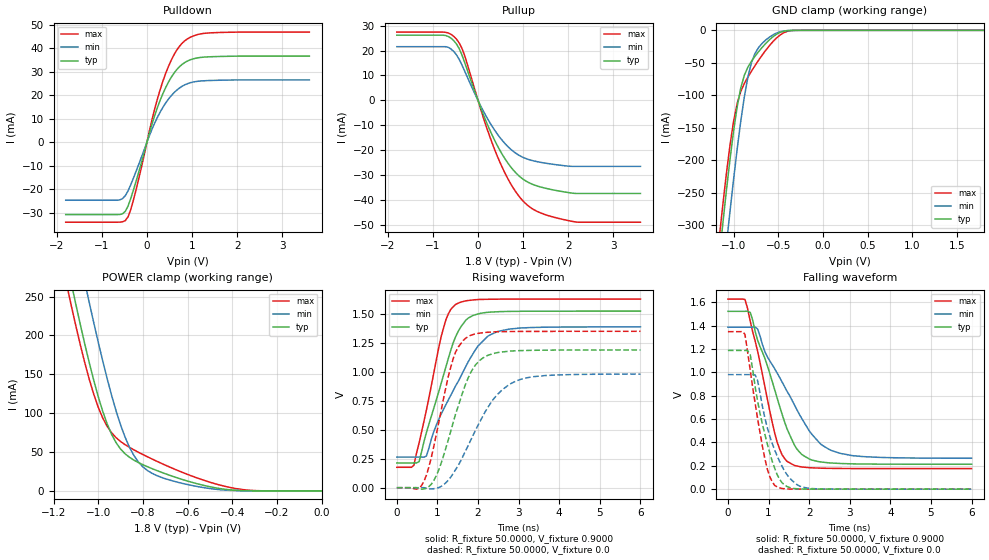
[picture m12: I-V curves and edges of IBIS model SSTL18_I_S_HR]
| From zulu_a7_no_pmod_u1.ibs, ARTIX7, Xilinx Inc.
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[Model]  SSTL18_I_S_HR
Model_type I/O
Polarity   Non-Inverting
Enable   Active-Low
Vinl = 0.775
Vinh = 1.025
Vmeas =  0.9000V
Cref =   0.0F
Rref =   50.0000
Vref =   0.9000V
C_comp   7.6500pF   7.5200pF   7.6700pF
[Model Spec]
Vinl   0.775   0.730   0.820
Vinh   1.025   0.980   1.070
[Temperature Range]   25.0000   85.0000   0.0
[Voltage Range]   1.8000V   1.7100V   1.8900V
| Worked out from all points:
|   slope of the pulldown table from 0 to 0.27 V, typ, clamps not added: 16.2 ohm
|   slope of the pullup table from 0 to 0.27 V, typ, clamps not added: 22.2 ohm
|   GND clamp passes 1 mA (typ) near -0.42 V on its own axis
|   POWER clamp passes 1 mA (typ) near -0.39 V on its own axis
|   rising waveform, R_fixture 50.0000, V_fixture 0.9000: 20-80 % time 672ps typ, 972ps min, 518ps max; typ from 0.213 V to 1.52 V
|   rising waveform, R_fixture 50.0000, V_fixture 0.0: 20-80 % time 646ps typ, 908ps min, 506ps max; typ from 0 V to 1.19 V
|   falling waveform, R_fixture 50.0000, V_fixture 0.9000: 20-80 % time 761ps typ, 1.09ns min, 546ps max; typ from 1.52 V to 0.214 V
|   falling waveform, R_fixture 50.0000, V_fixture 0.0: 20-80 % time 452ps typ, 522ps min, 380ps max; typ from 1.19 V to 0 V
[Pulldown]
|Voltage   I(typ)   I(min)   I(max)
-1.8V     -30.79mA   -24.69mA   -34.04mA
-600mV    -30.76mA   -24.54mA   -34.01mA
-480mV    -29.44mA   -22.78mA   -33.36mA
-420mV    -27.23mA   -20.75mA   -31.83mA
-240mV    -16.58mA   -12.34mA   -20.17mA
120mV     8.208mA    5.91mA     10.22mA
300mV     18.22mA    13.09mA    22.83mA
540mV     27.7mA     19.87mA    35.02mA
660mV     30.92mA    22.18mA    39.23mA
840mV     33.99mA    24.48mA    43.24mA
1.32V     36.34mA    26.25mA    46.49mA
3.6V      36.7mA     26.55mA    46.93mA
[Pullup]
|Voltage   I(typ)   I(min)   I(max)
-1.8V     26.14mA    21.53mA    27.38mA
-720mV    26.02mA    21.53mA    27.3mA
-480mV    22.68mA    18.33mA    24.6mA
-360mV    18.38mA    14.34mA    21.01mA
-300mV    15.4mA     11.91mA    18.16mA
120mV     -5.746mA   -4.326mA   -7.006mA
420mV     -17.82mA   -13.27mA   -22mA
780mV     -27.85mA   -20.39mA   -35.06mA
1.14V     -33.06mA   -23.77mA   -42.61mA
1.5V      -35.2mA    -25.15mA   -45.81mA
2.16V     -37.27mA   -26.43mA   -48.69mA
3.6V      -37.27mA   -26.43mA   -48.78mA
[GND_clamp]
|Voltage   I(typ)   I(min)   I(max)
-1.8V     -1.3A      -1.383A    -1.269A
-1.16V    -348.9mA   -435.6mA   -318.5mA
-1.12V    -296.3mA   -381.5mA   -267.4mA
-1.08V    -245.7mA   -328.8mA   -219.5mA
-1.04V    -198.1mA   -278mA     -176.3mA
-960mV    -117.6mA   -182.5mA   -112.3mA
-920mV    -88.68mA   -139.8mA   -94.04mA
-840mV    -56.6mA    -71.86mA   -71.82mA
-760mV    -39.79mA   -35.41mA   -54.21mA
-560mV    -9.966mA   -7.013mA   -17.38mA
-320mV    -48.25uA   -58.21uA   -167.2uA
1.8V      18.21nA    526.7nA    -33.92nA
[POWER_clamp]
|Voltage   I(typ)   I(min)   I(max)
-1.8V     1.291A     1.371A     1.26A
-1.14V    293.9mA    379.2mA    264mA
-1.1V     239.9mA    323.1mA    212.2mA
-1.06V    188.9mA    268.7mA    164.9mA
-1.04V    165mA      242.3mA    143.6mA
-980mV    102.7mA    167.5mA    94.04mA
-940mV    72.79mA    123mA      74.84mA
-860mV    43.26mA    56.15mA    56.08mA
-800mV    33.74mA    30.98mA    46.86mA
-660mV    18.15mA    12.38mA    28.25mA
-400mV    1.141mA    578.2uA    3.907mA
0V        0A         0A         0A
[Ramp]
| variable   typ   min   max
dV/dt_r  0.7128/0.6348n   0.5880/0.9079n   0.8094/0.5053n
dV/dt_f  0.7843/0.7567n   0.6478/1.0832n   0.8833/0.5647n
R_load = 50.0000
[Rising Waveform]
R_fixture= 50.0000
V_fixture= 0.9000
V_fixture_min= 0.8550
V_fixture_max= 0.9450
|time   V(typ)   V(min)   V(max)
0s        213.4mV    264.2mV    176mV
420ps     213.4mV    264.2mV    193.4mV
550ps     224.8mV    264.2mV    387.4mV
730ps     476mV      273.8mV    671.8mV
1.09ns    897.6mV    632.9mV    1.3V
1.27ns    1.117V     757.6mV    1.5V
1.45ns    1.304V     879.6mV    1.581V
1.76ns    1.463V     1.087V     1.615V
2.48ns    1.518V     1.347V     1.626V
6ns       1.523V     1.387V     1.627V
[Rising Waveform]
R_fixture= 50.0000
V_fixture= 0.0
|time   V(typ)   V(min)   V(max)
0s        0V         505.1nV    616.6nV
480ps     280.7uV    7.418uV    -12.74mV
670ps     -10.92mV   235.7uV    56.23mV
970ps     102mV      -4.418mV   455.3mV
1.39ns    564mV      123.4mV    1.115V
1.7ns     898.7mV    322.2mV    1.291V
2.12ns    1.119V     617.6mV    1.337V
2.48ns    1.165V     804.7mV    1.345V
2.91ns    1.181V     915.1mV    1.347V
6ns       1.188V     979.9mV    1.349V
[Falling Waveform]
R_fixture= 50.0000
V_fixture= 0.9000
V_fixture_min= 0.8550
V_fixture_max= 0.9450
|time   V(typ)   V(min)   V(max)
0s        1.523V     1.387V     1.628V
420ps     1.523V     1.387V     1.624V
550ps     1.514V     1.387V     1.438V
730ps     1.278V     1.373V     1.183V
910ps     1.121V     1.177V     878.2mV
1.15ns    854mV      1.032V     483.6mV
1.45ns    521.7mV    841.6mV    239.6mV
1.82ns    297mV      604.3mV    190mV
2.55ns    223.9mV    331.3mV    178.1mV
6ns       213.5mV    264.7mV    176.1mV
[Falling Waveform]
R_fixture= 50.0000
V_fixture= 0.0
|time   V(typ)   V(min)   V(max)
0s        1.188V     981.1mV    1.349V
420ps     1.188V     981.1mV    1.325V
550ps     1.151V     981mV      1.018V
670ps     878.7mV    978.3mV    736.2mV
730ps     756mV      931mV      607.9mV
970ps     387.7mV    527.1mV    172.6mV
1.15ns    181.6mV    336.8mV    32.88mV
1.39ns    37.79mV    158.1mV    3.965mV
1.88ns    1.221mV    14.96mV    526.8uV
6ns       43.45uV    74.89uV    32.65uV
